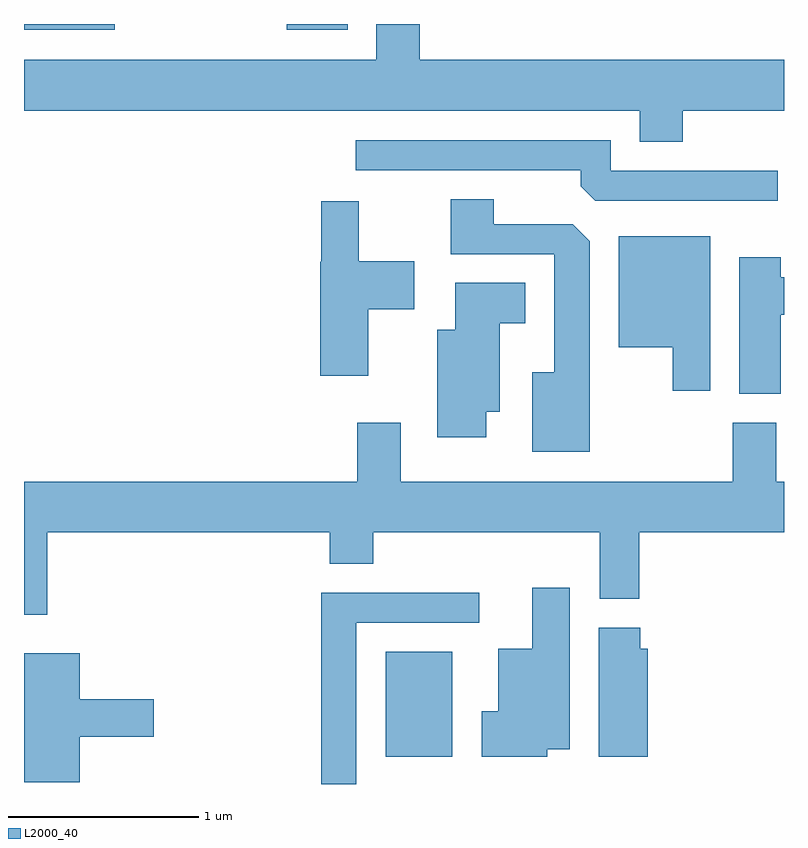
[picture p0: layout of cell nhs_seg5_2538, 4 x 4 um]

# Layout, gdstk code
import gdstk
lib = gdstk.Library(unit=1e-6, precision=1e-09)
def R(c, l, rs):  # rectangles x0, y0, x1, y1
    for r in rs: c.add(gdstk.rectangle(r[:2], r[2:], *l))
def P(c, l, *ps):  # polygons
    for p in ps: c.add(gdstk.Polygon(p, *l))
L2000_40 = (2000, 40)

nhs_seg5_2538 = lib.new_cell('nhs_seg5_2538')
R(nhs_seg5_2538, L2000_40, [(261.516,1522.216,261.864,1522.769), (259.611,1526.041,260.089,1526.072), (260.993,1526.041,261.314,1526.072)])
P(nhs_seg5_2538, L2000_40, [(263.079,1525.616),(263.611,1525.616),(263.611,1525.884),(261.694,1525.884),(261.694,1526.072),(261.466,1526.072),(261.466,1525.884),(259.611,1525.884),(259.611,1525.616),(262.851,1525.616),(262.851,1525.451),(263.079,1525.451)],
  [(263.578,1525.299),(262.699,1525.299),(262.699,1525.459),(261.358,1525.459),(261.358,1525.301),(262.541,1525.301),(262.541,1525.217),(262.617,1525.141),(263.578,1525.141)],
  [(262.589,1524.929),(262.499,1525.019),(262.084,1525.019),(262.084,1525.149),(261.856,1525.149),(261.856,1524.861),(262.401,1524.861),(262.401,1524.239),(262.286,1524.239),(262.286,1523.821),(262.589,1523.821)],
  [(261.424,1524.571),(261.664,1524.571),(261.664,1524.824),(261.374,1524.824),(261.374,1525.139),(261.176,1525.139),(261.176,1524.82),(261.171,1524.82),(261.171,1524.221),(261.424,1524.221)],
  [(263.224,1524.954),(262.741,1524.954),(262.741,1524.371),(263.026,1524.371),(263.026,1524.141),(263.224,1524.141)],
  [(263.594,1524.541),(263.611,1524.541),(263.611,1524.739),(263.594,1524.739),(263.594,1524.844),(263.376,1524.844),(263.376,1524.126),(263.594,1524.126)],
  [(262.044,1524.031),(262.114,1524.031),(262.114,1524.496),(262.249,1524.496),(262.249,1524.709),(261.881,1524.709),(261.881,1524.464),(261.786,1524.464),(261.786,1523.896),(262.044,1523.896)],
  [(259.734,1523.396),(261.221,1523.396),(261.221,1523.231),(261.449,1523.231),(261.449,1523.396),(262.641,1523.396),(262.641,1523.046),(262.849,1523.046),(262.849,1523.396),(263.611,1523.396),(263.611,1523.664),(263.569,1523.664),(263.569,1523.974),(263.341,1523.974),(263.341,1523.664),(261.594,1523.664),(261.594,1523.974),(261.366,1523.974),(261.366,1523.664),(259.611,1523.664),(259.611,1522.963),(259.734,1522.963)],
  [(262.364,1522.256),(262.484,1522.256),(262.484,1523.104),(262.286,1523.104),(262.286,1522.784),(262.106,1522.784),(262.106,1522.454),(262.021,1522.454),(262.021,1522.216),(262.364,1522.216)],
  [(261.359,1522.921),(262.008,1522.921),(262.008,1523.079),(261.176,1523.079),(261.176,1522.072),(261.359,1522.072)],
  [(262.894,1522.784),(262.854,1522.784),(262.854,1522.894),(262.636,1522.894),(262.636,1522.216),(262.894,1522.216)],
  [(259.904,1522.321),(260.294,1522.321),(260.294,1522.519),(259.904,1522.519),(259.904,1522.759),(259.611,1522.759),(259.611,1522.081),(259.904,1522.081)])

lib.write_gds('nhs_seg5_2538.gds')
